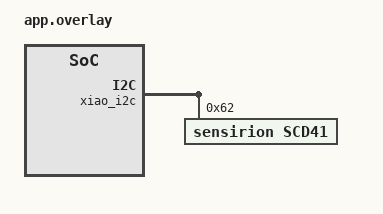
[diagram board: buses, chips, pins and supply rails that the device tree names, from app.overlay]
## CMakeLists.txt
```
cmake_minimum_required(VERSION 3.20.0)

find_package(Zephyr REQUIRED HINTS $ENV{ZEPHYR_BASE})
project(grove_scd41_basic_read)

set(GROVE_COMMON_DIR ${CMAKE_CURRENT_LIST_DIR}/../../common)
if(NOT EXISTS ${GROVE_COMMON_DIR})
  set(GROVE_COMMON_DIR ${CMAKE_CURRENT_LIST_DIR}/common)
endif()

target_sources(app PRIVATE
  src/main.c
  ${GROVE_COMMON_DIR}/xiao_board_runtime.c
)
target_include_directories(app PRIVATE ${GROVE_COMMON_DIR})
```

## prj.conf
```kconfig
# Board-agnostic Grove SCD41 example: relies on the XIAO connector xiao_i2c label.
# 板级无关的 Grove SCD41 示例:依赖 XIAO connector 的 xiao_i2c 标签。
CONFIG_SENSOR=y
CONFIG_I2C=y
CONFIG_SCD4X=y
CONFIG_PRINTK=y
```

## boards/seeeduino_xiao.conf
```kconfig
CONFIG_SERIAL=y
CONFIG_CONSOLE=y
CONFIG_UART_CONSOLE=y
CONFIG_STDOUT_CONSOLE=y
CONFIG_UART_LINE_CTRL=y
CONFIG_USB_DEVICE_STACK=y
CONFIG_WARN_DEPRECATED=n
CONFIG_USB_DEVICE_VID=0x2886
CONFIG_USB_DEVICE_PRODUCT="Seeed XIAO SAMD21 SCD41"
CONFIG_USB_DEVICE_MANUFACTURER="Seeed Studio"
CONFIG_USB_DEVICE_PID=0x0004
CONFIG_USB_DEVICE_INITIALIZE_AT_BOOT=n
CONFIG_USB_DEVICE_STACK_NEXT=n
```

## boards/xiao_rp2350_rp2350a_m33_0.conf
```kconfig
CONFIG_REBOOT=y
CONFIG_RETAINED_MEM=y
CONFIG_RETENTION=y
CONFIG_RETENTION_BOOT_MODE=y
CONFIG_SERIAL=y
CONFIG_CONSOLE=y
CONFIG_UART_CONSOLE=y
CONFIG_STDOUT_CONSOLE=y
CONFIG_UART_LINE_CTRL=y
CONFIG_USB_DEVICE_STACK_NEXT=y
CONFIG_CDC_ACM_SERIAL_INITIALIZE_AT_BOOT=y
CONFIG_CDC_ACM_SERIAL_PID=0x0005
CONFIG_CDC_ACM_SERIAL_PRODUCT_STRING="Seeed XIAO RP2350 Grove"
```

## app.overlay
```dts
/*
 * Board-agnostic Grove SCD41 devicetree overlay.
 * References the upstream XIAO connector label xiao_i2c, which each XIAO board
 * maps to its own I2C controller. The same overlay builds for every XIAO board.
 *
 * 板级无关的 Grove SCD41 devicetree overlay。
 * 引用上游 XIAO connector 标签 xiao_i2c,每块 XIAO 板将其映射到自身的 I2C 控制器。
 * 同一份 overlay 可在所有 XIAO 板上构建。
 */
&xiao_i2c {
	status = "okay";

	scd41: scd41@62 {
		compatible = "sensirion,scd41";
		reg = <0x62>;
		/* mode 0: normal periodic measurement, 5 s interval. */
		/* mode 0:正常周期测量,5 秒间隔。 */
		mode = <0>;
	};
};
```

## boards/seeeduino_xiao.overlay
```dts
/*
 * SAMD21 uses firmware-provided USB CDC ACM for console.
 * The SCD41 is attached to the XIAO I2C connector.
 *
 * SAMD21 使用固件提供的 USB CDC ACM 作为控制台。
 * SCD41 连接到 XIAO I2C connector。
 */

/ {
	chosen {
		zephyr,console = &cdc_acm_uart0;
	};
};

&zephyr_udc0 {
	cdc_acm_uart0: cdc_acm_uart0 {
		compatible = "zephyr,cdc-acm-uart";
		label = "CDC_ACM_0";
	};
};

&xiao_i2c {
	status = "okay";

	scd41: scd41@62 {
		compatible = "sensirion,scd41";
		reg = <0x62>;
		/* mode 0: normal periodic measurement, 5 s interval. */
		/* mode 0:正常周期测量,5 秒间隔。 */
		mode = <0>;
	};
};
```

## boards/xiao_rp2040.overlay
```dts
/*
 * RP2040 uses firmware-provided USB CDC ACM for console and 1200-baud UF2 entry.
 * The SCD41 is attached to the XIAO I2C connector.
 *
 * RP2040 使用固件提供的 USB CDC ACM 作为控制台和 1200 baud UF2 入口。
 * SCD41 连接到 XIAO I2C connector。
 */

/ {
	chosen {
		zephyr,console = &cdc_acm_uart0;
	};
};

&zephyr_udc0 {
	cdc_acm_uart0: cdc_acm_uart0 {
		compatible = "zephyr,cdc-acm-uart";
	};
};

&xiao_i2c {
	status = "okay";

	scd41: scd41@62 {
		compatible = "sensirion,scd41";
		reg = <0x62>;
		/* mode 0: normal periodic measurement, 5 s interval. */
		/* mode 0:正常周期测量,5 秒间隔。 */
		mode = <0>;
	};
};
```

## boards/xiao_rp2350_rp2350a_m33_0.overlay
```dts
/*
 * RP2350 uses retained boot mode plus USB CDC ACM for console and UF2 entry.
 * The SCD41 is attached to the XIAO I2C connector.
 *
 * RP2350 使用 retained boot mode 和 USB CDC ACM 作为控制台与 UF2 入口。
 * SCD41 连接到 XIAO I2C connector。
 */

#include <vendor/raspberrypi/rp2350-boot-mode-retention.dtsi>

/ {
	chosen {
		zephyr,console = &cdc_acm_uart0;
	};
};

&zephyr_udc0 {
	cdc_acm_uart0: cdc_acm_uart0 {
		compatible = "zephyr,cdc-acm-uart";
	};
};

&xiao_i2c {
	status = "okay";

	scd41: scd41@62 {
		compatible = "sensirion,scd41";
		reg = <0x62>;
		/* mode 0: normal periodic measurement, 5 s interval. */
		/* mode 0:正常周期测量,5 秒间隔。 */
		mode = <0>;
	};
};
```

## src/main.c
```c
/*
 * Grove SCD41 basic_read example.
 * Periodically samples CO2, temperature, and relative humidity from the SCD41
 * sensor and prints them over the console. The sensor binding comes from
 * app.overlay via the board-agnostic xiao_i2c connector label.
 *
 * Grove SCD41 basic_read 示例。
 * 周期性采样 SCD41 的 CO2、温度与相对湿度并打印到控制台。
 * 传感器绑定来自 app.overlay,通过板级无关的 xiao_i2c connector 标签。
 */

#include <zephyr/kernel.h>
#include <zephyr/device.h>
#include <zephyr/drivers/sensor.h>
#include <zephyr/sys/printk.h>

#include "xiao_board_runtime.h"

/* SCD41 single-shot measurement needs up to 5 seconds to produce a reading. */
/* SCD41 单次测量最长需要 5 秒才能产生一次读数。 */
#define SAMPLE_INTERVAL_MS 5000

static const struct device *const scd41 = DEVICE_DT_GET(DT_NODELABEL(scd41));

static void print_sample(const struct device *dev)
{
	struct sensor_value co2;
	struct sensor_value temp;
	struct sensor_value hum;

	if (sensor_sample_fetch(dev) < 0) {
		printk("SCD41 sample fetch failed\n");
		return;
	}

	sensor_channel_get(dev, SENSOR_CHAN_CO2, &co2);
	sensor_channel_get(dev, SENSOR_CHAN_AMBIENT_TEMP, &temp);
	sensor_channel_get(dev, SENSOR_CHAN_HUMIDITY, &hum);

	printk("CO2: %d ppm  Temp: %d.%06d C  RH: %d.%06d %%\n",
	       co2.val1,
	       temp.val1, temp.val2,
	       hum.val1, hum.val2);
}

int main(void)
{
	if (xiao_board_runtime_init() != 0) {
		return 0;
	}

	printk("*** Seeed XIAO Zephyr Base | grove: SCD41 basic_read | board: %s ***\n",
	       CONFIG_BOARD);

	if (!device_is_ready(scd41)) {
		printk("SCD41 device is not ready\n");
		return 0;
	}

	while (1) {
		xiao_board_runtime_poll();
		print_sample(scd41);
		xiao_board_runtime_sleep_ms(SAMPLE_INTERVAL_MS);
	}

	return 0;
}
```
